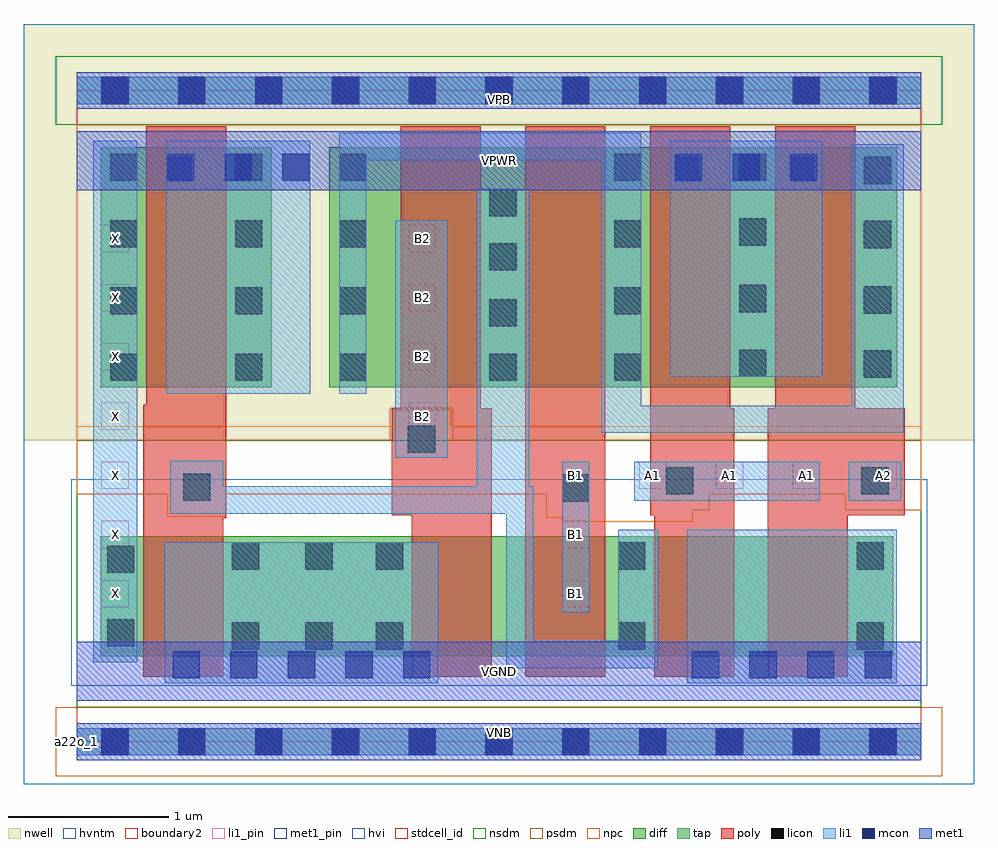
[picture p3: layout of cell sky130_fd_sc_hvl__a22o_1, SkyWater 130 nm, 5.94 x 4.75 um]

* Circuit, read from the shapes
.subckt sky130_fd_sc_hvl__a22o_1 A1 A2 B1 B2 VGND VNB VPB VPWR X
XM1 VGND n1 X VNB sky130_fd_pr__nfet_g5v0d10v5 w=0.75 l=0.5
XM2 n2 B2 VGND VNB sky130_fd_pr__nfet_g5v0d10v5 w=0.75 l=0.5
XM3 n1 B1 n2 VNB sky130_fd_pr__nfet_g5v0d10v5 w=0.75 l=0.5
XM4 n3 A1 n1 VNB sky130_fd_pr__nfet_g5v0d10v5 w=0.75 l=0.5
XM5 VGND A2 n3 VNB sky130_fd_pr__nfet_g5v0d10v5 w=0.75 l=0.5
XM6 VPWR n1 X VPB sky130_fd_pr__pfet_g5v0d10v5 w=1.5 l=0.5
XM7 n1 B2 n4 VPB sky130_fd_pr__pfet_g5v0d10v5 w=1.5 l=0.5
XM8 n4 B1 n1 VPB sky130_fd_pr__pfet_g5v0d10v5 w=1.5 l=0.5
XM9 VPWR A1 n4 VPB sky130_fd_pr__pfet_g5v0d10v5 w=1.5 l=0.5
XM10 n4 A2 VPWR VPB sky130_fd_pr__pfet_g5v0d10v5 w=1.5 l=0.5
.ends

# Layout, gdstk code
import gdstk
lib = gdstk.Library(unit=1e-6, precision=1e-09)
def R(c, l, rs):  # rectangles x0, y0, x1, y1
    for r in rs: c.add(gdstk.rectangle(r[:2], r[2:], *l))
def A(c, l, x, y, w, h, nx, ny, dx, dy):  # array of equal rectangles
    R(c, l, [(x+i*dx, y+j*dy, x+i*dx+w, y+j*dy+h) for i in range(nx) for j in range(ny)])
def P(c, l, *ps):  # polygons
    for p in ps: c.add(gdstk.Polygon(p, *l))
nwell = (64, 20)
diff = (65, 20)
tap = (65, 44)
poly = (66, 20)
licon = (66, 44)
li1_pin = (67, 16)
li1 = (67, 20)
mcon = (67, 44)
met1_pin = (68, 16)
met1 = (68, 20)
hvi = (75, 20)
stdcell_id = (81, 4)
nsdm = (93, 44)
psdm = (94, 20)
npc = (95, 20)
hvntm = (125, 20)
boundary2 = (236, 0)

sky130_fd_sc_hvl__a22o_1 = lib.new_cell('sky130_fd_sc_hvl__a22o_1')
R(sky130_fd_sc_hvl__a22o_1, nwell, [(-0.33,1.885,5.61,4.485)])
R(sky130_fd_sc_hvl__a22o_1, diff, [(0.15,0.535,5.105,1.285), (0.15,2.215,1.22,3.715), (1.58,2.215,5.13,3.715)])
R(sky130_fd_sc_hvl__a22o_1, tap, [(0,-0.085,5.28,0.085), (0,3.985,5.28,4.155)])
R(sky130_fd_sc_hvl__a22o_1, poly, [(2.805,0.405,3.305,3.845)])
P(sky130_fd_sc_hvl__a22o_1, poly, [(0.935,3.845),(0.435,3.845),(0.435,2.105),(0.415,2.105),(0.415,0.405),(0.915,0.405),(0.915,1.395),(0.935,1.395)],
  [(2.595,2.085),(2.525,2.085),(2.525,3.845),(2.025,3.845),(2.025,2.085),(1.97,2.085),(1.97,1.415),(2.095,1.415),(2.095,0.405),(2.595,0.405)],
  [(4.11,2.085),(4.085,2.085),(4.085,3.845),(3.585,3.845),(3.585,1.415),(3.61,1.415),(3.61,0.405),(4.11,0.405)],
  [(5.175,2.085),(4.865,2.085),(4.865,3.845),(4.365,3.845),(4.365,2.085),(4.32,2.085),(4.32,0.405),(4.82,0.405),(4.82,1.415),(5.175,1.415)])
A(sky130_fd_sc_hvl__a22o_1, licon, 0.155, -0.085, 0.17, 0.17, 11, 2, 0.48, 4.07)
R(sky130_fd_sc_hvl__a22o_1, licon, [(0.97,0.575,1.14,0.745), (1.43,0.575,1.6,0.745), (1.87,0.575,2.04,0.745), (3.385,0.575,3.555,0.745), (4.875,0.575,5.045,0.745), (0.19,0.595,0.36,0.765), (0.19,1.055,0.36,1.225), (0.97,1.075,1.14,1.245), (1.43,1.075,1.6,1.245), (1.87,1.075,2.04,1.245), (3.385,1.075,3.555,1.245), (4.875,1.075,5.045,1.245), (3.035,1.5,3.205,1.67), (0.665,1.505,0.835,1.675), (3.685,1.545,3.855,1.715), (4.905,1.545,5.075,1.715), (2.07,1.805,2.24,1.975), (0.21,2.255,0.38,2.425), (0.99,2.255,1.16,2.425), (1.64,2.255,1.81,2.425), (2.58,2.255,2.75,2.425), (3.36,2.255,3.53,2.425), (4.92,2.275,5.09,2.445), (4.14,2.28,4.31,2.45), (2.58,2.595,2.75,2.765), (0.21,2.67,0.38,2.84), (0.99,2.67,1.16,2.84), (1.64,2.67,1.81,2.84), (3.36,2.67,3.53,2.84), (4.92,2.675,5.09,2.845), (4.14,2.685,4.31,2.855), (2.58,2.945,2.75,3.115), (4.92,3.085,5.09,3.255), (0.21,3.09,0.38,3.26), (0.99,3.09,1.16,3.26), (1.64,3.09,1.81,3.26), (3.36,3.09,3.53,3.26), (4.14,3.1,4.31,3.27), (2.58,3.285,2.75,3.455), (4.92,3.485,5.09,3.655), (0.21,3.505,0.38,3.675), (0.99,3.505,1.16,3.675), (1.64,3.505,1.81,3.675), (3.36,3.505,3.53,3.675), (4.14,3.505,4.31,3.675)])
A(sky130_fd_sc_hvl__a22o_1, li1_pin, 0.155, 0.84, 0.17, 0.17, 1, 7, 0, 0.37)
A(sky130_fd_sc_hvl__a22o_1, li1_pin, 3.035, 1.58, 0.17, 0.17, 5, 1, 0.48, 0)
A(sky130_fd_sc_hvl__a22o_1, li1_pin, 2.075, 1.95, 0.17, 0.17, 1, 4, 0, 0.37)
R(sky130_fd_sc_hvl__a22o_1, li1_pin, [(3.035,0.84,3.205,1.01), (3.035,1.21,3.205,1.38)])
R(sky130_fd_sc_hvl__a22o_1, li1, [(0,-0.085,5.28,0.085), (0.55,0.365,2.26,1.245), (3.815,0.365,5.125,1.325), (0.105,0.495,0.38,3.755), (3.035,0.81,3.205,1.75), (3.485,1.505,4.645,1.75), (4.825,1.505,5.155,1.75), (1.99,1.775,2.32,3.26), (0.56,2.175,1.46,3.755), (3.71,2.28,4.66,3.755), (0,3.985,5.28,4.155)])
P(sky130_fd_sc_hvl__a22o_1, li1, [(3.635,1.325),(3.385,1.325),(3.385,0.63),(2.855,0.63),(2.855,1.595),(2.83,1.595),(2.83,3.455),(2.5,3.455),(2.5,1.595),(0.915,1.595),(0.915,1.755),(0.585,1.755),(0.585,1.425),(2.685,1.425),(2.685,0.46),(3.635,0.46)],
  [(5.17,3.735),(4.84,3.735),(4.84,2.1),(3.53,2.1),(3.53,3.805),(1.64,3.805),(1.64,2.175),(1.81,2.175),(1.81,3.635),(3.28,3.635),(3.28,1.93),(5.17,1.93)])
A(sky130_fd_sc_hvl__a22o_1, mcon, 0.6, 0.395, 0.17, 0.17, 5, 1, 0.36, 0)
A(sky130_fd_sc_hvl__a22o_1, mcon, 3.845, 0.395, 0.17, 0.17, 4, 1, 0.36, 0)
A(sky130_fd_sc_hvl__a22o_1, mcon, 0.565, 3.505, 0.17, 0.17, 3, 1, 0.36, 0)
A(sky130_fd_sc_hvl__a22o_1, mcon, 3.74, 3.505, 0.17, 0.17, 3, 1, 0.36, 0)
R(sky130_fd_sc_hvl__a22o_1, mcon, [(0.155,-0.085,0.325,0.085), (0.155,-0.085,0.325,0.085), (0.635,-0.085,0.805,0.085), (0.635,-0.085,0.805,0.085), (1.115,-0.085,1.285,0.085), (1.115,-0.085,1.285,0.085), (1.595,-0.085,1.765,0.085), (1.595,-0.085,1.765,0.085), (2.075,-0.085,2.245,0.085), (2.075,-0.085,2.245,0.085), (2.555,-0.085,2.725,0.085), (2.555,-0.085,2.725,0.085), (3.035,-0.085,3.205,0.085), (3.035,-0.085,3.205,0.085), (3.515,-0.085,3.685,0.085), (3.515,-0.085,3.685,0.085), (3.995,-0.085,4.165,0.085), (3.995,-0.085,4.165,0.085), (4.475,-0.085,4.645,0.085), (4.475,-0.085,4.645,0.085), (4.955,-0.085,5.125,0.085), (4.955,-0.085,5.125,0.085), (0.155,3.985,0.325,4.155), (0.155,3.985,0.325,4.155), (0.635,3.985,0.805,4.155), (0.635,3.985,0.805,4.155), (1.115,3.985,1.285,4.155), (1.115,3.985,1.285,4.155), (1.595,3.985,1.765,4.155), (1.595,3.985,1.765,4.155), (2.075,3.985,2.245,4.155), (2.075,3.985,2.245,4.155), (2.555,3.985,2.725,4.155), (2.555,3.985,2.725,4.155), (3.035,3.985,3.205,4.155), (3.035,3.985,3.205,4.155), (3.515,3.985,3.685,4.155), (3.515,3.985,3.685,4.155), (3.995,3.985,4.165,4.155), (3.995,3.985,4.165,4.155), (4.475,3.985,4.645,4.155), (4.475,3.985,4.645,4.155), (4.955,3.985,5.125,4.155), (4.955,3.985,5.125,4.155)])
R(sky130_fd_sc_hvl__a22o_1, met1_pin, [(0,0,5.28,0.115), (0,0.255,5.28,0.625), (0,3.445,5.28,3.815), (0,3.955,5.28,4.07)])
R(sky130_fd_sc_hvl__a22o_1, met1, [(0,-0.115,5.28,0.115), (0,0.255,5.28,0.625), (0,3.445,5.28,3.815), (0,3.955,5.28,4.185)])
R(sky130_fd_sc_hvl__a22o_1, hvi, [(-0.33,-0.265,5.61,4.485)])
R(sky130_fd_sc_hvl__a22o_1, stdcell_id, [(0,0,5.28,4.07)])
R(sky130_fd_sc_hvl__a22o_1, nsdm, [(0,0.215,5.28,1.885), (-0.13,3.855,5.41,4.285), (0,3.855,5.28,4.07)])
R(sky130_fd_sc_hvl__a22o_1, psdm, [(-0.13,-0.215,5.41,0.215)])
P(sky130_fd_sc_hvl__a22o_1, psdm, [(5.28,3.855),(0,3.855),(0,1.885),(1.96,1.885),(1.96,2.085),(2.35,2.085),(2.35,1.885),(5.28,1.885)])
P(sky130_fd_sc_hvl__a22o_1, npc, [(5.28,1.97),(2.34,1.97),(2.34,2.075),(1.97,2.075),(1.97,1.97),(0,1.97),(0,1.545),(0.565,1.545),(0.565,1.405),(0.935,1.405),(0.935,1.545),(2.935,1.545),(2.935,1.4),(3.04,1.4),(3.04,1.375),(3.85,1.375),(3.85,1.445),(3.955,1.445),(3.955,1.545),(4.805,1.545),(4.805,1.445),(5.28,1.445)])
R(sky130_fd_sc_hvl__a22o_1, hvntm, [(-0.035,0.35,5.315,1.64)])
R(sky130_fd_sc_hvl__a22o_1, boundary2, [(0,0,5.28,4.07)])
sky130_fd_sc_hvl__a22o_1.add(gdstk.Label('a22o_1', (0,0), layer=83, texttype=44))
sky130_fd_sc_hvl__a22o_1.add(gdstk.Label('VGND', (2.64,0.44), layer=68, texttype=5))
sky130_fd_sc_hvl__a22o_1.add(gdstk.Label('VNB', (2.64,0.058), layer=68, texttype=5))
sky130_fd_sc_hvl__a22o_1.add(gdstk.Label('VPWR', (2.64,3.63), layer=68, texttype=5))
sky130_fd_sc_hvl__a22o_1.add(gdstk.Label('VPB', (2.64,4.013), layer=68, texttype=5))
sky130_fd_sc_hvl__a22o_1.add(gdstk.Label('A1', (3.6,1.665), layer=67, texttype=5))
sky130_fd_sc_hvl__a22o_1.add(gdstk.Label('A1', (4.08,1.665), layer=67, texttype=5))
sky130_fd_sc_hvl__a22o_1.add(gdstk.Label('A1', (4.56,1.665), layer=67, texttype=5))
sky130_fd_sc_hvl__a22o_1.add(gdstk.Label('A2', (5.04,1.665), layer=67, texttype=5))
sky130_fd_sc_hvl__a22o_1.add(gdstk.Label('B1', (3.12,0.925), layer=67, texttype=5))
sky130_fd_sc_hvl__a22o_1.add(gdstk.Label('B1', (3.12,1.295), layer=67, texttype=5))
sky130_fd_sc_hvl__a22o_1.add(gdstk.Label('B1', (3.12,1.665), layer=67, texttype=5))
sky130_fd_sc_hvl__a22o_1.add(gdstk.Label('B2', (2.16,2.035), layer=67, texttype=5))
sky130_fd_sc_hvl__a22o_1.add(gdstk.Label('B2', (2.16,2.405), layer=67, texttype=5))
sky130_fd_sc_hvl__a22o_1.add(gdstk.Label('B2', (2.16,2.775), layer=67, texttype=5))
sky130_fd_sc_hvl__a22o_1.add(gdstk.Label('B2', (2.16,3.145), layer=67, texttype=5))
sky130_fd_sc_hvl__a22o_1.add(gdstk.Label('X', (0.24,0.925), layer=67, texttype=5))
sky130_fd_sc_hvl__a22o_1.add(gdstk.Label('X', (0.24,1.295), layer=67, texttype=5))
sky130_fd_sc_hvl__a22o_1.add(gdstk.Label('X', (0.24,1.665), layer=67, texttype=5))
sky130_fd_sc_hvl__a22o_1.add(gdstk.Label('X', (0.24,2.035), layer=67, texttype=5))
sky130_fd_sc_hvl__a22o_1.add(gdstk.Label('X', (0.24,2.405), layer=67, texttype=5))
sky130_fd_sc_hvl__a22o_1.add(gdstk.Label('X', (0.24,2.775), layer=67, texttype=5))
sky130_fd_sc_hvl__a22o_1.add(gdstk.Label('X', (0.24,3.145), layer=67, texttype=5))

lib.write_gds('sky130_fd_sc_hvl__a22o_1.gds')
